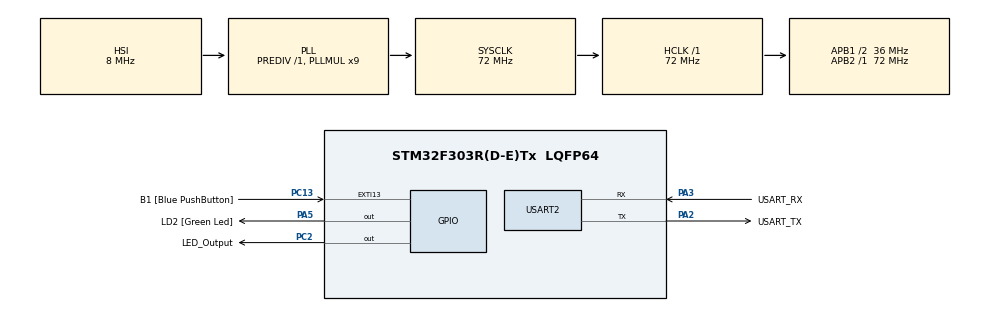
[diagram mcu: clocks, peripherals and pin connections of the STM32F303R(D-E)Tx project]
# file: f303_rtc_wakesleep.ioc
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Mcu.Family=STM32F3
PA2.GPIO_PuPd=GPIO_NOPULL
RTC.Alarm_B-Alarm\ B=RTC_ALARM_B
RCC.CortexFreq_Value=72000000
PA14.GPIO_Label=TCK
RCC.SYSCLKSourceVirtual=RCC_SYSCLKSOURCE_PLLCLK
PA3.GPIO_PuPd=GPIO_NOPULL
PA2.GPIO_Speed=GPIO_SPEED_FREQ_LOW
VP_RTC_VS_RTC_Activate.Mode=RTC_Enabled
PC13.GPIO_Label=B1 [Blue PushButton]
PA3.GPIO_Speed=GPIO_SPEED_FREQ_LOW
VP_RTC_VS_RTC_Alarm_B_Intern.Mode=Alarm B
VP_RTC_VS_RTC_Alarm_A_Intern.Mode=Alarm A
ProjectManager.StackSize=0x400
RCC.HCLKFreq_Value=72000000
RCC.APB2TimFreq_Value=72000000
RCC.AHBFreq_Value=72000000
RCC.HSE_VALUE=8000000
RTC.Minutes=15
USART2.VirtualMode-Asynchronous=VM_ASYNC
RCC.RCC_PLLsource_Clock_Source_FROM_HSE=RCC_HSE_PREDIV_DIV2
RCC.PLLMUL=RCC_PLL_MUL9
RTC.Month=RTC_MONTH_APRIL
PC14-OSC32_IN.Mode=LSE-External-Oscillator
PA14.Mode=Serial_Wire
PA5.GPIO_PuPd=GPIO_NOPULL
Mcu.Package=LQFP64
PA2.GPIO_Label=USART_TX
VP_RTC_VS_RTC_Calendar.Mode=RTC_Calendar
RCC.APB1TimFreq_Value=72000000
TIM16.Prescaler=7200 - 1
PC2.GPIO_Label=LED_Output
PF1-OSC_OUT.Signal=RCC_OSC_OUT
PA3.Signal=USART2_RX
PA2.GPIO_Mode=GPIO_MODE_AF_PP
PB3.GPIO_Label=SWO
PC15-OSC32_OUT.Mode=LSE-External-Oscillator
PC13.Signal=GPXTI13
PC2.Signal=GPIO_Output
VP_TIM16_VS_ClockSourceINT.Mode=Enable_Timer
RCC.APB1CLKDivider=RCC_HCLK_DIV2
PC14-OSC32_IN.Signal=RCC_OSC32_IN
PA13.Signal=SYS_JTMS-SWDIO
PA3.Mode=Asynchronous
ProjectManager.TargetToolchain=STM32CubeIDE
RTC.Year=21
PA3.GPIO_Mode=GPIO_MODE_AF_PP
RCC.USBFreq_Value=72000000
PC15-OSC32_OUT.Signal=RCC_OSC32_OUT
PF0-OSC_IN.Mode=HSE-External-Clock-Source
PA5.Signal=GPIO_Output
board=NUCLEO-F303RE
TIM16.Period=10000 - 1
RCC.APB2Freq_Value=72000000
PA13.Mode=Serial_Wire
NVIC.RTC_Alarm_IRQn=true\:0\:0\:false\:false\:true\:true\:true
Mcu.Name=STM32F303R(D-E)Tx
RTC.Alarm-Alarm\ A=RTC_ALARM_A
PA13.GPIO_Label=TMS
PA2.Signal=USART2_TX
RTC.Minutes_A-Alarm\ A=30
PB3.Signal=SYS_JTDO-TRACESWO
RCC.SYSCLKFreq_VALUE=72000000
RTC.Hours=0
PA5.GPIO_Label=LD2 [Green Led]
PC13.GPIO_ModeDefaultEXTI=GPIO_MODE_IT_FALLING
PA14.Signal=SYS_JTCK-SWCLK
ProjectManager.HeapSize=0x200
RCC.HSI_VALUE=8000000
NVIC.TIM1_UP_TIM16_IRQn=true\:0\:0\:false\:false\:true\:true\:true
RCC.PLLP=RCC_PLLP_DIV4
PA5.GPIO_Speed=GPIO_SPEED_FREQ_LOW
RCC.PLLQ=7
NVIC.PriorityGroup=NVIC_PRIORITYGROUP_0
RCC.PLLM=8
RCC.PLLN=336
PA2.Mode=Asynchronous
PF0-OSC_IN.Signal=RCC_OSC_IN
RTC.Seconds=22
RCC.APB1Freq_Value=36000000
PA5.GPIO_Mode=GPIO_MODE_OUTPUT_PP
RTC.Date=12
RTC.Hours_B-Alarm\ B=12
PA3.GPIO_Label=USART_RX

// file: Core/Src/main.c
/* USER CODE BEGIN Header */
/**
  ******************************************************************************
  * @file           : main.c
  * @brief          : Main program body
  ******************************************************************************
  * @attention
  *
  * <h2><center>&copy; Copyright (c) 2021 STMicroelectronics.
  * All rights reserved.</center></h2>
  *
  * This software component is licensed by ST under BSD 3-Clause license,
  * the "License"; You may not use this file except in compliance with the
  * License. You may obtain a copy of the License at:
  *                        opensource.org/licenses/BSD-3-Clause
  *
  ******************************************************************************
  */
/* USER CODE END Header */
#include "main.h"

/* USER CODE BEGIN Includes */
#include <stdio.h>
#include <string.h>
/* USER CODE END Includes */

RTC_HandleTypeDef hrtc;

TIM_HandleTypeDef htim16;

UART_HandleTypeDef huart2;

/* USER CODE BEGIN PV */
// rtc variables
RTC_DateTypeDef sdatestructureget;
RTC_TimeTypeDef stimestructureget;
RTC_AlarmTypeDef sAlarmA;
RTC_AlarmTypeDef sAlarmB;

// flag to indicate alarmA interrupt occurred
volatile uint8_t alarmAOccurred = 0;

// uart2 buffer
char msg[100];

/* USER CODE END PV */

void SystemClock_Config(void);
static void MX_GPIO_Init(void);
static void MX_USART2_UART_Init(void);
static void MX_RTC_Init(void);
static void MX_TIM16_Init(void);
/* USER CODE BEGIN PFP */
void pollAlarmInterruptFlag(void);
/* USER CODE END PFP */

int main(void)
{

  /* MCU Configuration--------------------------------------------------------*/

  /* Reset of all peripherals, Initializes the Flash interface and the Systick. */
  HAL_Init();

  /* USER CODE BEGIN Init */

//  HAL_PWR_DisableSleepOnExit();
  /* USER CODE END Init */

  /* Configure the system clock */
  SystemClock_Config();

  /* Initialize all configured peripherals */
  MX_GPIO_Init();
  MX_USART2_UART_Init();
  MX_RTC_Init();
  MX_TIM16_Init();
  /* USER CODE BEGIN 2 */

  HAL_TIM_Base_Start_IT(&htim16);
	// reset LED
	HAL_GPIO_WritePin(LED_Output_GPIO_Port, LED_Output_Pin, RESET);

	// check if system woke from standby mode, if so, clear flags
	if (__HAL_PWR_GET_FLAG(PWR_FLAG_SB) != RESET) {
		__HAL_PWR_CLEAR_FLAG(PWR_FLAG_SB);
		__HAL_PWR_CLEAR_FLAG(PWR_FLAG_WU);

		// if we woke from standby, then alarm B triggered the wakeup so run the callback
		HAL_RTCEx_AlarmBEventCallback(&hrtc);
		sprintf((char *) msg, "inside flag clearing about beginning of main\n");
		HAL_UART_Transmit(&huart2, (uint8_t*) msg, strlen(msg), 1000);
	} else {

		sprintf((char*) msg, "Setting RTC time and date\r\n");
		HAL_UART_Transmit(&huart2, (uint8_t*) msg, strlen(msg), 1000);

		HAL_RTC_GetTime(&hrtc, &stimestructureget, RTC_FORMAT_BIN);
		HAL_RTC_GetDate(&hrtc, &sdatestructureget, RTC_FORMAT_BIN);
		sprintf((char*) msg, "time is now: GetTime/Date: %.2d:%.2d:%.2d\r\n",
				stimestructureget.Hours, stimestructureget.Minutes,
				stimestructureget.Seconds);
		HAL_UART_Transmit(&huart2, (uint8_t*) msg, strlen(msg), 1000);

		stimestructureget.Hours = 0x11;
		stimestructureget.Minutes = 0x11;
		stimestructureget.Seconds = 0x00;
		stimestructureget.DayLightSaving = RTC_DAYLIGHTSAVING_NONE;
		stimestructureget.StoreOperation = RTC_STOREOPERATION_RESET;
		if (HAL_RTC_SetTime(&hrtc, &stimestructureget, RTC_FORMAT_BCD)
				!= HAL_OK) {
			Error_Handler();
		}
		sdatestructureget.WeekDay = RTC_WEEKDAY_MONDAY;
		sdatestructureget.Month = RTC_MONTH_APRIL;
		sdatestructureget.Date = 0x12;
		sdatestructureget.Year = 0x21;

		if (HAL_RTC_SetDate(&hrtc, &sdatestructureget, RTC_FORMAT_BCD)
				!= HAL_OK) {
			Error_Handler();
		}

		/** Enable the Alarm A */
		sAlarmA.AlarmTime.Hours = 0x11;
		sAlarmA.AlarmTime.Minutes = 0x55;
		sAlarmA.AlarmTime.Seconds = 0x03;
		sAlarmA.AlarmTime.SubSeconds = 0x0;
		sAlarmA.AlarmTime.DayLightSaving = RTC_DAYLIGHTSAVING_NONE;
		sAlarmA.AlarmTime.StoreOperation = RTC_STOREOPERATION_RESET;
		sAlarmA.AlarmMask = RTC_ALARMMASK_DATEWEEKDAY | RTC_ALARMMASK_HOURS | RTC_ALARMMASK_MINUTES; // triggers alarm every minute at the specified second
//		sAlarmA.AlarmMask = RTC_ALARMMASK_ALL; // triggers alarm every second
		sAlarmA.AlarmSubSecondMask = RTC_ALARMSUBSECONDMASK_NONE;
		sAlarmA.AlarmDateWeekDaySel = RTC_ALARMDATEWEEKDAYSEL_DATE;
		sAlarmA.AlarmDateWeekDay = 0x1;
		sAlarmA.Alarm = RTC_ALARM_A;
		if (HAL_RTC_SetAlarm_IT(&hrtc, &sAlarmA, RTC_FORMAT_BCD) != HAL_OK) {
			Error_Handler();
		}
		/** Enable the Alarm B */
		sAlarmB.AlarmTime.Hours = 0x11;
		sAlarmB.AlarmTime.Minutes = 0x42;
		sAlarmB.AlarmTime.Seconds = 0x12;
		sAlarmB.AlarmTime.SubSeconds = 0x0;
		sAlarmB.AlarmTime.DayLightSaving = RTC_DAYLIGHTSAVING_NONE;
		sAlarmB.AlarmTime.StoreOperation = RTC_STOREOPERATION_RESET;
		sAlarmB.AlarmMask = RTC_ALARMMASK_DATEWEEKDAY | RTC_ALARMMASK_HOURS | RTC_ALARMMASK_MINUTES; // triggers alarm every minute at the specified second
//		sAlarmB.AlarmMask = RTC_ALARMMASK_ALL; // triggers alarm every second
		sAlarmB.AlarmSubSecondMask = RTC_ALARMSUBSECONDMASK_NONE;
		sAlarmB.AlarmDateWeekDaySel = RTC_ALARMDATEWEEKDAYSEL_DATE;
		sAlarmB.AlarmDateWeekDay = 0x1;
		sAlarmB.Alarm = RTC_ALARM_B;
		if (HAL_RTC_SetAlarm_IT(&hrtc, &sAlarmB, RTC_FORMAT_BCD) != HAL_OK) {
			Error_Handler();
		}
	}

  /* USER CODE END 2 */

  /* Infinite loop */
  /* USER CODE BEGIN WHILE */
  while (1)
  {
	  pollAlarmInterruptFlag();

	  // alarmAOccurred is a flag indicating time to sleep
	  if (alarmAOccurred) {
		  sprintf((char *)msg, "entered alarmAOccurred in while loop, going to sleep\r\n");
		  HAL_UART_Transmit(&huart2, (uint8_t *)msg, strlen(msg), 1000);

		  __HAL_PWR_CLEAR_FLAG(PWR_FLAG_WU);
		  HAL_SuspendTick(); // systick generates interrupts which may wake the processor
		  HAL_PWR_EnterSTANDBYMode();
	  }

	  // print current RTC time for debugging
//	  HAL_RTC_GetTime(&hrtc, &stimestructureget, RTC_FORMAT_BIN);
//	  HAL_RTC_GetDate(&hrtc, &sdatestructureget, RTC_FORMAT_BIN);
//	  sprintf((char*) msg, "main, current: GetTime/Date: %.2d:%.2d:%.2d\r\n",
//				stimestructureget.Hours, stimestructureget.Minutes,
//				stimestructureget.Seconds);
//	  HAL_UART_Transmit(&huart2, (uint8_t*) msg, strlen(msg), 1000);

	  // print status of alarm flags for debugging
//	  sprintf((char*) msg, "alarmA flag: %d\talarmB flag: %d\r\n\n", __HAL_RTC_ALARM_GET_FLAG(&hrtc, RTC_FLAG_ALRAF), __HAL_RTC_ALARM_GET_FLAG(&hrtc, RTC_FLAG_ALRBF));
//	  HAL_UART_Transmit(&huart2, (uint8_t*) msg, strlen(msg), 1000);

	  // if this loop is entered, blink LED quickly and print time
//	  HAL_GPIO_TogglePin(LED_Output_GPIO_Port, LED_Output_Pin);

//	  HAL_Delay(100);

    /* USER CODE END WHILE */

  }
}

void SystemClock_Config(void)
{
  RCC_OscInitTypeDef RCC_OscInitStruct = {0};
  RCC_ClkInitTypeDef RCC_ClkInitStruct = {0};
  RCC_PeriphCLKInitTypeDef PeriphClkInit = {0};

  /** Initializes the RCC Oscillators according to the specified parameters
  * in the RCC_OscInitTypeDef structure.
  */
  RCC_OscInitStruct.OscillatorType = RCC_OSCILLATORTYPE_HSI|RCC_OSCILLATORTYPE_LSI;
  RCC_OscInitStruct.HSIState = RCC_HSI_ON;
  RCC_OscInitStruct.HSICalibrationValue = RCC_HSICALIBRATION_DEFAULT;
  RCC_OscInitStruct.LSIState = RCC_LSI_ON;
  RCC_OscInitStruct.PLL.PLLState = RCC_PLL_ON;
  RCC_OscInitStruct.PLL.PLLSource = RCC_PLLSOURCE_HSI;
  RCC_OscInitStruct.PLL.PLLMUL = RCC_PLL_MUL9;
  RCC_OscInitStruct.PLL.PREDIV = RCC_PREDIV_DIV1;
  if (HAL_RCC_OscConfig(&RCC_OscInitStruct) != HAL_OK)
  {
    Error_Handler();
  }
  /** Initializes the CPU, AHB and APB buses clocks
  */
  RCC_ClkInitStruct.ClockType = RCC_CLOCKTYPE_HCLK|RCC_CLOCKTYPE_SYSCLK
                              |RCC_CLOCKTYPE_PCLK1|RCC_CLOCKTYPE_PCLK2;
  RCC_ClkInitStruct.SYSCLKSource = RCC_SYSCLKSOURCE_PLLCLK;
  RCC_ClkInitStruct.AHBCLKDivider = RCC_SYSCLK_DIV1;
  RCC_ClkInitStruct.APB1CLKDivider = RCC_HCLK_DIV2;
  RCC_ClkInitStruct.APB2CLKDivider = RCC_HCLK_DIV1;

  if (HAL_RCC_ClockConfig(&RCC_ClkInitStruct, FLASH_LATENCY_2) != HAL_OK)
  {
    Error_Handler();
  }
  PeriphClkInit.PeriphClockSelection = RCC_PERIPHCLK_USART2|RCC_PERIPHCLK_RTC
                              |RCC_PERIPHCLK_TIM16;
  PeriphClkInit.Usart2ClockSelection = RCC_USART2CLKSOURCE_PCLK1;
  PeriphClkInit.RTCClockSelection = RCC_RTCCLKSOURCE_LSI;
  PeriphClkInit.Tim16ClockSelection = RCC_TIM16CLK_HCLK;
  if (HAL_RCCEx_PeriphCLKConfig(&PeriphClkInit) != HAL_OK)
  {
    Error_Handler();
  }
}

static void MX_RTC_Init(void)
{

  RTC_TimeTypeDef sTime = {0};
  RTC_DateTypeDef sDate = {0};
  RTC_AlarmTypeDef sAlarm = {0};

  /** Initialize RTC Only
  */
  hrtc.Instance = RTC;
  hrtc.Init.HourFormat = RTC_HOURFORMAT_24;
  hrtc.Init.AsynchPrediv = 127;
  hrtc.Init.SynchPrediv = 255;
  hrtc.Init.OutPut = RTC_OUTPUT_DISABLE;
  hrtc.Init.OutPutPolarity = RTC_OUTPUT_POLARITY_HIGH;
  hrtc.Init.OutPutType = RTC_OUTPUT_TYPE_OPENDRAIN;
  if (HAL_RTC_Init(&hrtc) != HAL_OK)
  {
    Error_Handler();
  }

  /* USER CODE BEGIN RTC_Init 2 */
  HAL_RTC_MspInit(&hrtc);
  /* USER CODE END RTC_Init 2 */

}

static void MX_TIM16_Init(void)
{

  htim16.Instance = TIM16;
  htim16.Init.Prescaler = 7200 - 1;
  htim16.Init.CounterMode = TIM_COUNTERMODE_UP;
  htim16.Init.Period = 10000 - 1;
  htim16.Init.ClockDivision = TIM_CLOCKDIVISION_DIV1;
  htim16.Init.RepetitionCounter = 0;
  htim16.Init.AutoReloadPreload = TIM_AUTORELOAD_PRELOAD_DISABLE;
  if (HAL_TIM_Base_Init(&htim16) != HAL_OK)
  {
    Error_Handler();
  }

}

static void MX_USART2_UART_Init(void)
{

  huart2.Instance = USART2;
  huart2.Init.BaudRate = 38400;
  huart2.Init.WordLength = UART_WORDLENGTH_8B;
  huart2.Init.StopBits = UART_STOPBITS_1;
  huart2.Init.Parity = UART_PARITY_NONE;
  huart2.Init.Mode = UART_MODE_TX_RX;
  huart2.Init.HwFlowCtl = UART_HWCONTROL_NONE;
  huart2.Init.OverSampling = UART_OVERSAMPLING_16;
  huart2.Init.OneBitSampling = UART_ONE_BIT_SAMPLE_DISABLE;
  huart2.AdvancedInit.AdvFeatureInit = UART_ADVFEATURE_NO_INIT;
  if (HAL_UART_Init(&huart2) != HAL_OK)
  {
    Error_Handler();
  }

}

static void MX_GPIO_Init(void)
{
  GPIO_InitTypeDef GPIO_InitStruct = {0};

  /* GPIO Ports Clock Enable */
  __HAL_RCC_GPIOC_CLK_ENABLE();
  __HAL_RCC_GPIOF_CLK_ENABLE();
  __HAL_RCC_GPIOA_CLK_ENABLE();
  __HAL_RCC_GPIOB_CLK_ENABLE();

  /*Configure GPIO pin Output Level */
  HAL_GPIO_WritePin(LED_Output_GPIO_Port, LED_Output_Pin, GPIO_PIN_RESET);

  /*Configure GPIO pin Output Level */
  HAL_GPIO_WritePin(LD2_GPIO_Port, LD2_Pin, GPIO_PIN_RESET);

  /*Configure GPIO pin : B1_Pin */
  GPIO_InitStruct.Pin = B1_Pin;
  GPIO_InitStruct.Mode = GPIO_MODE_IT_FALLING;
  GPIO_InitStruct.Pull = GPIO_NOPULL;
  HAL_GPIO_Init(B1_GPIO_Port, &GPIO_InitStruct);

  /*Configure GPIO pin : LED_Output_Pin */
  GPIO_InitStruct.Pin = LED_Output_Pin;
  GPIO_InitStruct.Mode = GPIO_MODE_OUTPUT_PP;
  GPIO_InitStruct.Pull = GPIO_NOPULL;
  GPIO_InitStruct.Speed = GPIO_SPEED_FREQ_LOW;
  HAL_GPIO_Init(LED_Output_GPIO_Port, &GPIO_InitStruct);

  /*Configure GPIO pin : LD2_Pin */
  GPIO_InitStruct.Pin = LD2_Pin;
  GPIO_InitStruct.Mode = GPIO_MODE_OUTPUT_PP;
  GPIO_InitStruct.Pull = GPIO_NOPULL;
  GPIO_InitStruct.Speed = GPIO_SPEED_FREQ_LOW;
  HAL_GPIO_Init(LD2_GPIO_Port, &GPIO_InitStruct);

}

/* USER CODE BEGIN 4 */
// Callbacks
void HAL_RTC_AlarmAEventCallback(RTC_HandleTypeDef *hrtc) {
	sprintf((char*) msg, "Alarm A callback entered\r\n");
	HAL_UART_Transmit(&huart2, (uint8_t*) msg, strlen((char const*) msg), 1000);
	sprintf((char*) msg, "alarmA flag: %d\talarmB flag: %d\r\n\n",
			__HAL_RTC_ALARM_GET_FLAG(hrtc, RTC_FLAG_ALRAF),
			__HAL_RTC_ALARM_GET_FLAG(hrtc, RTC_FLAG_ALRBF));
	HAL_UART_Transmit(&huart2, (uint8_t*) msg, strlen(msg), 1000);
	// clear the alarm flag
		__HAL_RTC_WRITEPROTECTION_DISABLE(hrtc);
		while (__HAL_RTC_ALARM_GET_FLAG(hrtc, RTC_FLAG_ALRAF) != RESET)
			__HAL_RTC_ALARM_CLEAR_FLAG(hrtc, RTC_FLAG_ALRAF);
		__HAL_RTC_WRITEPROTECTION_ENABLE(hrtc);
		__HAL_RTC_ALARM_EXTI_CLEAR_FLAG();

		sprintf((char*) msg, "alarmA flag after clear: %d\talarmB flag: %d\r\n\n",
					__HAL_RTC_ALARM_GET_FLAG(hrtc, RTC_FLAG_ALRAF),
					__HAL_RTC_ALARM_GET_FLAG(hrtc, RTC_FLAG_ALRBF));
			HAL_UART_Transmit(&huart2, (uint8_t*) msg, strlen(msg), 1000);
	alarmAOccurred = 1;
}

void HAL_RTCEx_AlarmBEventCallback(RTC_HandleTypeDef *hrtc) {

	sprintf((char *)msg, "Alarm B callback entered\r\n");
		HAL_UART_Transmit(&huart2, (uint8_t *)msg, strlen((char const *)msg), 1000);

	HAL_UART_Transmit(&huart2, (uint8_t *)msg, strlen((char const *)msg), 1000);
		sprintf((char*) msg, "before clear attempt: alarmA flag: %d\talarmB flag: %d\r\n\n", __HAL_RTC_ALARM_GET_FLAG(hrtc, RTC_FLAG_ALRAF), __HAL_RTC_ALARM_GET_FLAG(hrtc, RTC_FLAG_ALRBF));
			  HAL_UART_Transmit(&huart2, (uint8_t*) msg, strlen(msg), 1000);

	// clear the alarm flag
	__HAL_RTC_WRITEPROTECTION_DISABLE(hrtc);
	while (__HAL_RTC_ALARM_GET_FLAG(hrtc, RTC_FLAG_ALRBF) != RESET)
		__HAL_RTC_ALARM_CLEAR_FLAG(hrtc, RTC_FLAG_ALRBF);
		__HAL_RTC_ALARM_EXTI_CLEAR_FLAG();
	__HAL_RTC_WRITEPROTECTION_ENABLE(hrtc);
	__HAL_RTC_ALARM_EXTI_CLEAR_FLAG();

	sprintf((char*) msg, "after clear attempt: alarmA flag: %d\talarmB flag: %d\r\n\n", __HAL_RTC_ALARM_GET_FLAG(hrtc, RTC_FLAG_ALRAF), __HAL_RTC_ALARM_GET_FLAG(hrtc, RTC_FLAG_ALRBF));
		  HAL_UART_Transmit(&huart2, (uint8_t*) msg, strlen(msg), 1000);
	alarmAOccurred = 0;

}

void HAL_TIM_PeriodElapsedCallback(TIM_HandleTypeDef *htim) {
	if (htim == &htim16) {
		sprintf((char*) msg, "TIM16 callback entered\r\n");
		HAL_UART_Transmit(&huart2, (uint8_t*) msg, strlen((char const*) msg),
				1000);

		HAL_GPIO_TogglePin(LED_Output_GPIO_Port, LED_Output_Pin);

		// print current RTC time for debugging
		HAL_RTC_GetTime(&hrtc, &stimestructureget, RTC_FORMAT_BIN);
		HAL_RTC_GetDate(&hrtc, &sdatestructureget, RTC_FORMAT_BIN);
		sprintf((char*) msg, "main, current: GetTime/Date: %.2d:%.2d:%.2d\r\n",
				stimestructureget.Hours, stimestructureget.Minutes,
				stimestructureget.Seconds);
		HAL_UART_Transmit(&huart2, (uint8_t*) msg, strlen(msg), 1000);

//		// print status of alarm flags for debugging
		sprintf((char*) msg, "alarmA flag: %d\talarmB flag: %d\r\n\n",
				__HAL_RTC_ALARM_GET_FLAG(&hrtc, RTC_FLAG_ALRAF),
				__HAL_RTC_ALARM_GET_FLAG(&hrtc, RTC_FLAG_ALRBF));
		HAL_UART_Transmit(&huart2, (uint8_t*) msg, strlen(msg), 1000);
	}
}

/*
 * polls the alarm interrupt flags and calls the appropriate callback functions.
 */
void pollAlarmInterruptFlag(void) {
	if (__HAL_RTC_ALARM_GET_FLAG(&hrtc, RTC_FLAG_ALRAF) != RESET)
		HAL_RTC_AlarmAEventCallback(&hrtc);
	if (__HAL_RTC_ALARM_GET_FLAG(&hrtc, RTC_FLAG_ALRBF) != RESET)
		HAL_RTCEx_AlarmBEventCallback(&hrtc);
}
/* USER CODE END 4 */

void Error_Handler(void)
{
  /* USER CODE BEGIN Error_Handler_Debug */
  /* User can add his own implementation to report the HAL error return state */
//  __disable_irq();
  while (1)
  {
	  HAL_GPIO_WritePin(LED_Output_GPIO_Port, LED_Output_Pin, RESET);
	  HAL_Delay(250);
	  HAL_GPIO_WritePin(LED_Output_GPIO_Port, LED_Output_Pin, SET);
	  HAL_Delay(1000);
  }
  /* USER CODE END Error_Handler_Debug */
}

/************************ (C) COPYRIGHT STMicroelectronics *****END OF FILE****/
